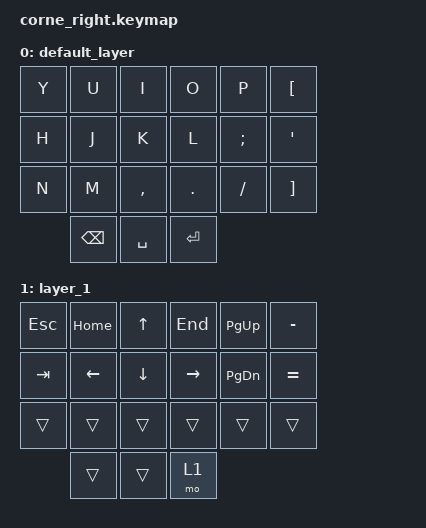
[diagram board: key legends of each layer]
#include <behaviors.dtsi>
#include <dt-bindings/zmk/keys.h>

/ {
    keymap {
        compatible = "zmk,keymap";

        default_layer {
            bindings = <
&kp Y      &kp U     &kp I     &kp O      &kp P     &kp LBKT
&kp H      &kp J     &kp K     &kp L      &kp SEMI  &kp SQT
&kp N      &kp M     &kp COMMA &kp DOT    &kp FSLH  &kp RBKT
           &kp BSPC &kp SPACE &kp ENTER
            >;
        };

        layer_1 {
            bindings = <
&kp ESC  &kp HOME  &kp UP    &kp END    &kp PG_UP  &kp MINUS
&kp TAB  &kp LEFT  &kp DOWN  &kp RIGHT  &kp PG_DN  &kp EQUAL
&trans   &trans    &trans    &trans     &trans     &trans
         &trans    &trans    &mo 1
            >;
        };
    };
}; 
